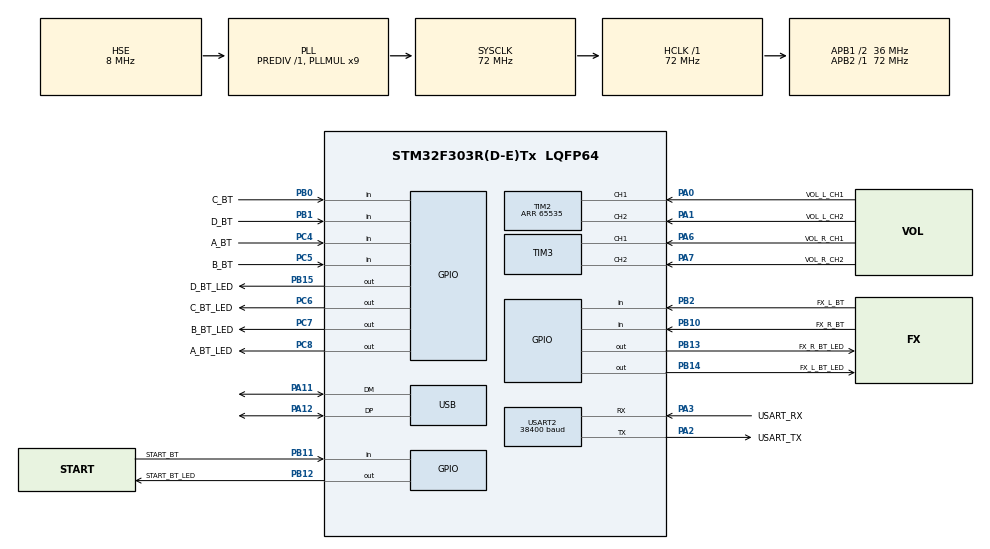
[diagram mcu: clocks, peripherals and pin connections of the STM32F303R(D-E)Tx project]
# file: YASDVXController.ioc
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Mcu.Family=STM32F3
Mcu.Name=STM32F303R(D-E)Tx
Mcu.Package=LQFP64
NVIC.PriorityGroup=NVIC_PRIORITYGROUP_0
NVIC.TIM2_IRQn=true\:0\:0\:false\:false\:true\:true\:true\:true
NVIC.USB_LP_CAN_RX0_IRQn=true\:0\:0\:false\:false\:true\:false\:true\:true
PA0.GPIO_Label=VOL_L_CH1
PA0.Signal=S_TIM2_CH1_ETR
PA1.GPIO_Label=VOL_L_CH2
PA1.Signal=S_TIM2_CH2
PA11.Mode=Device
PA11.Signal=USB_DM
PA12.Mode=Device
PA12.Signal=USB_DP
PA13.GPIO_Label=TMS
PA13.Mode=Serial_Wire
PA13.Signal=SYS_JTMS-SWDIO
PA14.GPIO_Label=TCK
PA14.Mode=Serial_Wire
PA14.Signal=SYS_JTCK-SWCLK
PA2.GPIO_Label=USART_TX
PA2.GPIO_Mode=GPIO_MODE_AF_PP
PA2.GPIO_PuPd=GPIO_NOPULL
PA2.GPIO_Speed=GPIO_SPEED_FREQ_LOW
PA2.Mode=Asynchronous
PA2.Signal=USART2_TX
PA3.GPIO_Label=USART_RX
PA3.GPIO_Mode=GPIO_MODE_AF_PP
PA3.GPIO_PuPd=GPIO_PULLUP
PA3.GPIO_Speed=GPIO_SPEED_FREQ_LOW
PA3.Mode=Asynchronous
PA3.Signal=USART2_RX
PA6.GPIO_Label=VOL_R_CH1
PA6.Signal=S_TIM3_CH1
PA7.GPIO_Label=VOL_R_CH2
PA7.Signal=S_TIM3_CH2
PB0.GPIO_Label=C_BT
PB0.GPIO_PuPd=GPIO_PULLUP
PB0.Signal=GPIO_Input
PB1.GPIO_Label=D_BT
PB1.GPIO_PuPd=GPIO_PULLUP
PB1.Signal=GPIO_Input
PB10.GPIO_Label=FX_R_BT
PB10.GPIO_PuPd=GPIO_PULLUP
PB10.Signal=GPIO_Input
PB11.GPIO_Label=START_BT
PB11.GPIO_PuPd=GPIO_PULLUP
PB11.Signal=GPIO_Input
PB12.GPIO_Label=START_BT_LED
PB12.Signal=GPIO_Output
PB13.GPIO_Label=FX_R_BT_LED
PB13.Signal=GPIO_Output
PB14.GPIO_Label=FX_L_BT_LED
PB14.Signal=GPIO_Output
PB15.GPIO_Label=D_BT_LED
PB15.Signal=GPIO_Output
PB2.GPIO_Label=FX_L_BT
PB2.GPIO_PuPd=GPIO_PULLUP
PB2.Signal=GPIO_Input
PC4.GPIO_Label=A_BT
PC4.GPIO_PuPd=GPIO_PULLUP
PC4.Signal=GPIO_Input
PC5.GPIO_Label=B_BT
PC5.GPIO_PuPd=GPIO_PULLUP
PC5.Signal=GPIO_Input
PC6.GPIO_Label=C_BT_LED
PC6.Signal=GPIO_Output
PC7.GPIO_Label=B_BT_LED
PC7.Signal=GPIO_Output
PC8.GPIO_Label=A_BT_LED
PC8.Signal=GPIO_Output
PF0-OSC_IN.Mode=HSE-External-Oscillator
PF0-OSC_IN.Signal=RCC_OSC_IN
PF1-OSC_OUT.Mode=HSE-External-Oscillator
PF1-OSC_OUT.Signal=RCC_OSC_OUT
ProjectManager.HeapSize=0x200
ProjectManager.StackSize=0x400
ProjectManager.TargetToolchain=STM32CubeIDE
RCC.AHBFreq_Value=72000000
RCC.APB1CLKDivider=RCC_HCLK_DIV2
RCC.APB1Freq_Value=36000000
RCC.APB1TimFreq_Value=72000000
RCC.APB2Freq_Value=72000000
RCC.APB2TimFreq_Value=72000000
RCC.CortexFreq_Value=72000000
RCC.HCLKFreq_Value=72000000
RCC.HSE_VALUE=8000000
RCC.HSI_VALUE=8000000
RCC.LSE_VALUE=32768
RCC.PLLM=8
RCC.PLLMUL=RCC_PLL_MUL9
RCC.PLLN=336
RCC.PLLP=RCC_PLLP_DIV4
RCC.PLLQ=7
RCC.PRESCALERUSB=RCC_USBCLKSOURCE_PLL_DIV1_5
RCC.RCC_PLLsource_Clock_Source_FROM_HSE=RCC_HSE_PREDIV_DIV2
RCC.SYSCLKFreq_VALUE=72000000
RCC.SYSCLKSourceVirtual=RCC_SYSCLKSOURCE_PLLCLK
RCC.USBFreq_Value=48000000
SH.S_TIM2_CH1_ETR.0=TIM2_CH1,Encoder_Interface
SH.S_TIM2_CH2.0=TIM2_CH2,Encoder_Interface
SH.S_TIM3_CH1.0=TIM3_CH1,Encoder_Interface
SH.S_TIM3_CH2.0=TIM3_CH2,Encoder_Interface
TIM2.EncoderMode=TIM_ENCODERMODE_TI1
TIM2.IC1Filter=0
TIM2.IC1Polarity=TIM_ICPOLARITY_FALLING
TIM2.IC1Prescaler=TIM_ICPSC_DIV1
TIM2.IC2Filter=0
TIM2.IC2Polarity=TIM_ICPOLARITY_RISING
TIM2.IC2Prescaler=TIM_ICPSC_DIV1
TIM2.Period=65535
TIM3.IC1Polarity=TIM_ICPOLARITY_FALLING
USART2.BaudRate=38400
USART2.VirtualMode-Asynchronous=VM_ASYNC
USART2.WordLength=WORDLENGTH_8B
USB_DEVICE.CLASS_NAME_FS=CUSTOM_HID
USB_DEVICE.CUSTOM_HID_FS_BINTERVAL=0x1
USB_DEVICE.MANUFACTURER_STRING=conk3R
USB_DEVICE.PID_CUSTOMHID_FS=0x101C
USB_DEVICE.PRODUCT_STRING_CUSTOMHID_FS=YASDVXCon
USB_DEVICE.USBD_CUSTOM_HID_REPORT_DESC_SIZE=53
USB_DEVICE.USBD_DEBUG_LEVEL=3
USB_DEVICE.USBD_SELF_POWERED=0
USB_DEVICE.VID=0x1CCF
USB_DEVICE.VirtualMode=CustomHid
USB_DEVICE.VirtualModeFS=Custom_Hid_FS
VP_USB_DEVICE_VS_USB_DEVICE_CUSTOM_HID_FS.Mode=CUSTOM_HID_FS
board=NUCLEO-F303RE

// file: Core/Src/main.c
/* USER CODE BEGIN Header */
/**
  ******************************************************************************
  * @file           : main.c
  * @brief          : Main program body
  ******************************************************************************
  * @attention
  *
  * Copyright (c) 2025 STMicroelectronics.
  * All rights reserved.
  *
  * This software is licensed under terms that can be found in the LICENSE file
  * in the root directory of this software component.
  * If no LICENSE file comes with this software, it is provided AS-IS.
  *
  ******************************************************************************
  */
/* USER CODE END Header */
#include "main.h"
#include "usb_device.h"

/* USER CODE BEGIN Includes */
#include "usbd_customhid.h"
#include "Button.h"
/* USER CODE END Includes */

TIM_HandleTypeDef htim2;
TIM_HandleTypeDef htim3;

UART_HandleTypeDef huart2;

/* USER CODE BEGIN PV */
extern PCD_HandleTypeDef hpcd_USB_FS;
extern USBD_HandleTypeDef hUsbDeviceFS;

volatile uint16_t vol_l_counter = 0;
volatile uint16_t vol_r_counter = 0;

volatile Button bt_a;
volatile Button bt_b;
volatile Button bt_c;
volatile Button bt_d;
volatile Button bt_fx_l;
volatile Button bt_fx_r;
volatile Button bt_start;

volatile GPIO_PinState bt_a_state = GPIO_PIN_RESET;
volatile GPIO_PinState bt_b_state = GPIO_PIN_RESET;
volatile GPIO_PinState bt_c_state = GPIO_PIN_RESET;
volatile GPIO_PinState bt_d_state = GPIO_PIN_RESET;
volatile GPIO_PinState bt_fx_l_state = GPIO_PIN_RESET;
volatile GPIO_PinState bt_fx_r_state = GPIO_PIN_RESET;
volatile GPIO_PinState bt_start_state = GPIO_PIN_RESET;

typedef struct __attribute__((packed)) {
    uint8_t report_id;
    uint16_t buttons;
    uint8_t vol_l_encoder;
    uint8_t vol_r_encoder;
} HID_Report_t;

HID_Report_t hid_report = {0};
/* USER CODE END PV */

void SystemClock_Config(void);
static void MX_GPIO_Init(void);
static void MX_USART2_UART_Init(void);
static void MX_TIM2_Init(void);
static void MX_TIM3_Init(void);

int main(void)
{

  /* MCU Configuration--------------------------------------------------------*/

  /* Reset of all peripherals, Initializes the Flash interface and the Systick. */
  HAL_Init();

  /* Configure the system clock */
  SystemClock_Config();

  /* Initialize all configured peripherals */
  MX_GPIO_Init();
  MX_USART2_UART_Init();
  MX_TIM2_Init();
  MX_TIM3_Init();

  MX_USB_DEVICE_Init();
  /* USER CODE BEGIN 2 */

  HAL_TIM_Encoder_Start(&htim2, TIM_CHANNEL_ALL);
  HAL_TIM_Encoder_Start(&htim3, TIM_CHANNEL_ALL);

  bt_a = Button_Init(DEFAULT_DEBOUNCE);
  bt_b = Button_Init(DEFAULT_DEBOUNCE);
  bt_c = Button_Init(DEFAULT_DEBOUNCE);
  bt_d = Button_Init(DEFAULT_DEBOUNCE);
  bt_fx_l = Button_Init(DEFAULT_DEBOUNCE);
  bt_fx_r = Button_Init(DEFAULT_DEBOUNCE);
  bt_start = Button_Init(DEFAULT_DEBOUNCE);

  /* USER CODE END 2 */

  /* Infinite loop */
  while (1)
  {
	  __WFI();
  }
}

void SystemClock_Config(void)
{
  RCC_OscInitTypeDef RCC_OscInitStruct = {0};
  RCC_ClkInitTypeDef RCC_ClkInitStruct = {0};
  RCC_PeriphCLKInitTypeDef PeriphClkInit = {0};

  /** Initializes the RCC Oscillators according to the specified parameters
  * in the RCC_OscInitTypeDef structure.
  */
  RCC_OscInitStruct.OscillatorType = RCC_OSCILLATORTYPE_HSE;
  RCC_OscInitStruct.HSEState = RCC_HSE_ON;
  RCC_OscInitStruct.HSIState = RCC_HSI_ON;
  RCC_OscInitStruct.PLL.PLLState = RCC_PLL_ON;
  RCC_OscInitStruct.PLL.PLLSource = RCC_PLLSOURCE_HSE;
  RCC_OscInitStruct.PLL.PLLMUL = RCC_PLL_MUL9;
  RCC_OscInitStruct.PLL.PREDIV = RCC_PREDIV_DIV1;
  if (HAL_RCC_OscConfig(&RCC_OscInitStruct) != HAL_OK)
  {
    Error_Handler();
  }

  /** Initializes the CPU, AHB and APB buses clocks
  */
  RCC_ClkInitStruct.ClockType = RCC_CLOCKTYPE_HCLK|RCC_CLOCKTYPE_SYSCLK
                              |RCC_CLOCKTYPE_PCLK1|RCC_CLOCKTYPE_PCLK2;
  RCC_ClkInitStruct.SYSCLKSource = RCC_SYSCLKSOURCE_PLLCLK;
  RCC_ClkInitStruct.AHBCLKDivider = RCC_SYSCLK_DIV1;
  RCC_ClkInitStruct.APB1CLKDivider = RCC_HCLK_DIV2;
  RCC_ClkInitStruct.APB2CLKDivider = RCC_HCLK_DIV1;

  if (HAL_RCC_ClockConfig(&RCC_ClkInitStruct, FLASH_LATENCY_2) != HAL_OK)
  {
    Error_Handler();
  }
  PeriphClkInit.PeriphClockSelection = RCC_PERIPHCLK_USB|RCC_PERIPHCLK_USART2
                              |RCC_PERIPHCLK_TIM2|RCC_PERIPHCLK_TIM34;
  PeriphClkInit.Usart2ClockSelection = RCC_USART2CLKSOURCE_PCLK1;
  PeriphClkInit.USBClockSelection = RCC_USBCLKSOURCE_PLL_DIV1_5;
  PeriphClkInit.Tim2ClockSelection = RCC_TIM2CLK_HCLK;
  PeriphClkInit.Tim34ClockSelection = RCC_TIM34CLK_HCLK;
  if (HAL_RCCEx_PeriphCLKConfig(&PeriphClkInit) != HAL_OK)
  {
    Error_Handler();
  }
}

static void MX_TIM2_Init(void)
{

  TIM_Encoder_InitTypeDef sConfig = {0};
  TIM_MasterConfigTypeDef sMasterConfig = {0};

  htim2.Instance = TIM2;
  htim2.Init.Prescaler = 0;
  htim2.Init.CounterMode = TIM_COUNTERMODE_UP;
  htim2.Init.Period = 47;
  htim2.Init.ClockDivision = TIM_CLOCKDIVISION_DIV1;
  htim2.Init.AutoReloadPreload = TIM_AUTORELOAD_PRELOAD_DISABLE;
  sConfig.EncoderMode = TIM_ENCODERMODE_TI1;
  sConfig.IC1Polarity = TIM_ICPOLARITY_FALLING;
  sConfig.IC1Selection = TIM_ICSELECTION_DIRECTTI;
  sConfig.IC1Prescaler = TIM_ICPSC_DIV1;
  sConfig.IC1Filter = 0;
  sConfig.IC2Polarity = TIM_ICPOLARITY_RISING;
  sConfig.IC2Selection = TIM_ICSELECTION_DIRECTTI;
  sConfig.IC2Prescaler = TIM_ICPSC_DIV1;
  sConfig.IC2Filter = 0;
  if (HAL_TIM_Encoder_Init(&htim2, &sConfig) != HAL_OK)
  {
    Error_Handler();
  }
  sMasterConfig.MasterOutputTrigger = TIM_TRGO_RESET;
  sMasterConfig.MasterSlaveMode = TIM_MASTERSLAVEMODE_DISABLE;
  if (HAL_TIMEx_MasterConfigSynchronization(&htim2, &sMasterConfig) != HAL_OK)
  {
    Error_Handler();
  }

}

static void MX_TIM3_Init(void)
{

  TIM_Encoder_InitTypeDef sConfig = {0};
  TIM_MasterConfigTypeDef sMasterConfig = {0};

  htim3.Instance = TIM3;
  htim3.Init.Prescaler = 0;
  htim3.Init.CounterMode = TIM_COUNTERMODE_UP;
  htim3.Init.Period = 47;
  htim3.Init.ClockDivision = TIM_CLOCKDIVISION_DIV1;
  htim3.Init.AutoReloadPreload = TIM_AUTORELOAD_PRELOAD_DISABLE;
  sConfig.EncoderMode = TIM_ENCODERMODE_TI1;
  sConfig.IC1Polarity = TIM_ICPOLARITY_FALLING;
  sConfig.IC1Selection = TIM_ICSELECTION_DIRECTTI;
  sConfig.IC1Prescaler = TIM_ICPSC_DIV1;
  sConfig.IC1Filter = 0;
  sConfig.IC2Polarity = TIM_ICPOLARITY_RISING;
  sConfig.IC2Selection = TIM_ICSELECTION_DIRECTTI;
  sConfig.IC2Prescaler = TIM_ICPSC_DIV1;
  sConfig.IC2Filter = 0;
  if (HAL_TIM_Encoder_Init(&htim3, &sConfig) != HAL_OK)
  {
    Error_Handler();
  }
  sMasterConfig.MasterOutputTrigger = TIM_TRGO_RESET;
  sMasterConfig.MasterSlaveMode = TIM_MASTERSLAVEMODE_DISABLE;
  if (HAL_TIMEx_MasterConfigSynchronization(&htim3, &sMasterConfig) != HAL_OK)
  {
    Error_Handler();
  }

}

static void MX_USART2_UART_Init(void)
{

  huart2.Instance = USART2;
  huart2.Init.BaudRate = 38400;
  huart2.Init.WordLength = UART_WORDLENGTH_8B;
  huart2.Init.StopBits = UART_STOPBITS_1;
  huart2.Init.Parity = UART_PARITY_NONE;
  huart2.Init.Mode = UART_MODE_TX_RX;
  huart2.Init.HwFlowCtl = UART_HWCONTROL_NONE;
  huart2.Init.OverSampling = UART_OVERSAMPLING_16;
  huart2.Init.OneBitSampling = UART_ONE_BIT_SAMPLE_DISABLE;
  huart2.AdvancedInit.AdvFeatureInit = UART_ADVFEATURE_NO_INIT;
  if (HAL_UART_Init(&huart2) != HAL_OK)
  {
    Error_Handler();
  }

}

static void MX_GPIO_Init(void)
{
  GPIO_InitTypeDef GPIO_InitStruct = {0};

  /* GPIO Ports Clock Enable */
  __HAL_RCC_GPIOF_CLK_ENABLE();
  __HAL_RCC_GPIOA_CLK_ENABLE();
  __HAL_RCC_GPIOC_CLK_ENABLE();
  __HAL_RCC_GPIOB_CLK_ENABLE();

  /*Configure GPIO pin Output Level */
  HAL_GPIO_WritePin(GPIOB, START_BT_LED_Pin|FX_R_BT_LED_Pin|FX_L_BT_LED_Pin|D_BT_LED_Pin, GPIO_PIN_RESET);

  /*Configure GPIO pin Output Level */
  HAL_GPIO_WritePin(GPIOC, C_BT_LED_Pin|B_BT_LED_Pin|A_BT_LED_Pin, GPIO_PIN_RESET);

  /*Configure GPIO pins : A_BT_Pin B_BT_Pin */
  GPIO_InitStruct.Pin = A_BT_Pin|B_BT_Pin;
  GPIO_InitStruct.Mode = GPIO_MODE_INPUT;
  GPIO_InitStruct.Pull = GPIO_PULLUP;
  HAL_GPIO_Init(GPIOC, &GPIO_InitStruct);

  /*Configure GPIO pins : C_BT_Pin D_BT_Pin FX_L_BT_Pin FX_R_BT_Pin
                           START_BT_Pin */
  GPIO_InitStruct.Pin = C_BT_Pin|D_BT_Pin|FX_L_BT_Pin|FX_R_BT_Pin
                          |START_BT_Pin;
  GPIO_InitStruct.Mode = GPIO_MODE_INPUT;
  GPIO_InitStruct.Pull = GPIO_PULLUP;
  HAL_GPIO_Init(GPIOB, &GPIO_InitStruct);

  /*Configure GPIO pins : START_BT_LED_Pin FX_R_BT_LED_Pin FX_L_BT_LED_Pin D_BT_LED_Pin */
  GPIO_InitStruct.Pin = START_BT_LED_Pin|FX_R_BT_LED_Pin|FX_L_BT_LED_Pin|D_BT_LED_Pin;
  GPIO_InitStruct.Mode = GPIO_MODE_OUTPUT_PP;
  GPIO_InitStruct.Pull = GPIO_NOPULL;
  GPIO_InitStruct.Speed = GPIO_SPEED_FREQ_LOW;
  HAL_GPIO_Init(GPIOB, &GPIO_InitStruct);

  /*Configure GPIO pins : C_BT_LED_Pin B_BT_LED_Pin A_BT_LED_Pin */
  GPIO_InitStruct.Pin = C_BT_LED_Pin|B_BT_LED_Pin|A_BT_LED_Pin;
  GPIO_InitStruct.Mode = GPIO_MODE_OUTPUT_PP;
  GPIO_InitStruct.Pull = GPIO_NOPULL;
  GPIO_InitStruct.Speed = GPIO_SPEED_FREQ_LOW;
  HAL_GPIO_Init(GPIOC, &GPIO_InitStruct);

}

/* USER CODE BEGIN 4 */
void Process_SOF_Callback() {
  hid_report.report_id = 0x04;
  hid_report.buttons = 0x00;

  bt_a_state = Update_Button(&bt_a, HAL_GPIO_ReadPin(A_BT_GPIO_Port, A_BT_Pin));
  hid_report.buttons |= ((!bt_a_state) << 0);
  bt_b_state = Update_Button(&bt_b, HAL_GPIO_ReadPin(B_BT_GPIO_Port, B_BT_Pin));
  hid_report.buttons |= ((!bt_b_state) << 1);
  bt_c_state = Update_Button(&bt_c, HAL_GPIO_ReadPin(C_BT_GPIO_Port, C_BT_Pin));
  hid_report.buttons |= ((!bt_c_state) << 2);
  bt_d_state = Update_Button(&bt_d, HAL_GPIO_ReadPin(D_BT_GPIO_Port, D_BT_Pin));
  hid_report.buttons |= ((!bt_d_state) << 3);
  bt_fx_l_state = Update_Button(&bt_fx_l, HAL_GPIO_ReadPin(FX_L_BT_GPIO_Port, FX_L_BT_Pin));
  hid_report.buttons |= ((!bt_fx_l_state) << 4);
  bt_fx_r_state = Update_Button(&bt_fx_r, HAL_GPIO_ReadPin(FX_R_BT_GPIO_Port, FX_R_BT_Pin));
  hid_report.buttons |= ((!bt_fx_r_state) << 5);
  bt_start_state = Update_Button(&bt_start, HAL_GPIO_ReadPin(START_BT_GPIO_Port, START_BT_Pin));
  hid_report.buttons |= ((!bt_start_state) << 8);

  HAL_GPIO_WritePin(A_BT_LED_GPIO_Port, A_BT_LED_Pin, !bt_a_state);
  HAL_GPIO_WritePin(B_BT_LED_GPIO_Port, B_BT_LED_Pin, !bt_b_state);
  HAL_GPIO_WritePin(C_BT_LED_GPIO_Port, C_BT_LED_Pin, !bt_c_state);
  HAL_GPIO_WritePin(D_BT_LED_GPIO_Port, D_BT_LED_Pin, !bt_d_state);
  HAL_GPIO_WritePin(FX_L_BT_LED_GPIO_Port, FX_L_BT_LED_Pin, !bt_fx_l_state);
  HAL_GPIO_WritePin(FX_R_BT_LED_GPIO_Port, FX_R_BT_LED_Pin, !bt_fx_r_state);
  HAL_GPIO_WritePin(START_BT_LED_GPIO_Port, START_BT_LED_Pin, !bt_start_state);

  vol_l_counter = __HAL_TIM_GET_COUNTER(&htim2);
  hid_report.vol_l_encoder = (uint8_t)(((uint32_t)(vol_l_counter % 48u) * 255u) / 48u);

  vol_r_counter = __HAL_TIM_GET_COUNTER(&htim3);
  hid_report.vol_r_encoder = (uint8_t)(((uint32_t)(vol_r_counter % 48u) * 255u) / 48u);

  USBD_CUSTOM_HID_HandleTypeDef *hhid = (USBD_CUSTOM_HID_HandleTypeDef*)hUsbDeviceFS.pClassData;
  if (hhid->state == CUSTOM_HID_IDLE)
  {
    USBD_CUSTOM_HID_SendReport(&hUsbDeviceFS, (uint8_t*)&hid_report, sizeof(hid_report));
  }
}

/* USER CODE END 4 */

void Error_Handler(void)
{
  __disable_irq();
  while (1)
  {
  }
}
